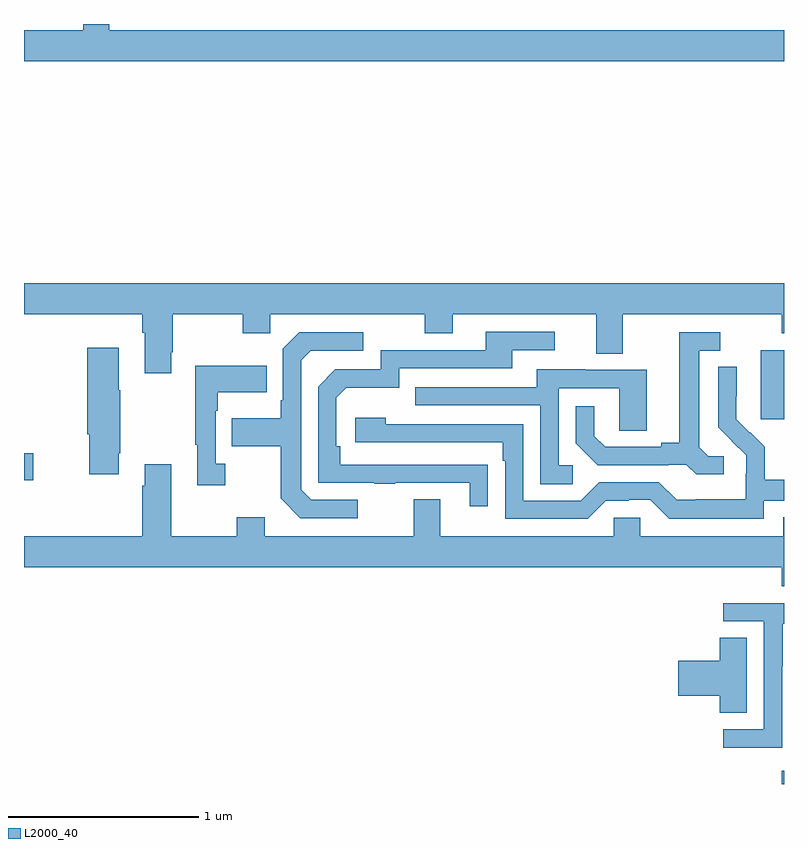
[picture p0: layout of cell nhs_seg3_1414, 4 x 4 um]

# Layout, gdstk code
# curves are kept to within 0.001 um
import gdstk
lib = gdstk.Library(unit=1e-6, precision=1e-09)
def R(c, l, rs):  # rectangles x0, y0, x1, y1
    for r in rs: c.add(gdstk.rectangle(r[:2], r[2:], *l))
def P(c, l, *ps):  # polygons
    for p in ps: c.add(gdstk.Polygon(p, *l))
L2000_40 = (2000, 40)

nhs_seg3_1414 = lib.new_cell('nhs_seg3_1414')
R(nhs_seg3_1414, L2000_40, [(186.989,742.4,187,742.471), (183,743.998,183.049,744.14), (186.878,744.321,187,744.682)])
P(nhs_seg3_1414, L2000_40, [(187,746.368),(183.449,746.368),(183.449,746.4),(183.313,746.4),(183.313,746.368),(183,746.368),(183,746.204),(187,746.204)],
  [(183.775,744.673),(183.783,744.673),(183.783,744.872),(184.15,744.872),(184.15,744.773),(184.296,744.773),(184.296,744.872),(185.11,744.872),(185.11,744.773),(185.257,744.773),(185.257,744.872),(186.011,744.872),(186.011,744.664),(186.151,744.664),(186.151,744.872),(186.988,744.872),(186.988,744.773),(187,744.773),(187,745.036),(183,745.036),(183,744.872),(183.623,744.872),(183.623,744.776),(183.635,744.776),(183.635,744.561),(183.775,744.561)],
  [(185.441,744.08),(184.664,744.081),(184.664,744.178),(184.644,744.178),(184.644,744.432),(184.697,744.485),(184.974,744.485),(184.974,744.588),(185.569,744.588),(185.569,744.684),(185.794,744.684),(185.794,744.78),(185.429,744.78),(185.429,744.684),(184.878,744.684),(184.878,744.582),(184.638,744.582),(184.548,744.492),(184.548,743.985),(184.843,743.985),(184.843,743.98),(184.955,743.98),(184.955,743.985),(185.345,743.985),(185.345,743.862),(185.441,743.862)],
  [(184.756,743.895),(184.512,743.895),(184.458,743.949),(184.458,744.63),(184.509,744.681),(184.786,744.681),(184.786,744.777),(184.449,744.777),(184.362,744.69),(184.362,744.421),(184.35,744.421),(184.35,744.325),(184.093,744.325),(184.093,744.178),(184.35,744.178),(184.35,743.905),(184.455,743.799),(184.756,743.799)],
  [(186.682,744.126),(186.6,744.126),(186.553,744.173),(186.553,744.681),(186.664,744.681),(186.664,744.777),(186.449,744.777),(186.449,744.197),(186.353,744.197),(186.353,744.174),(186.058,744.174),(186.001,744.231),(186.001,744.388),(185.904,744.388),(185.904,744.194),(186.02,744.078),(186.392,744.078),(186.392,744.081),(186.486,744.081),(186.538,744.029),(186.682,744.029)],
  [(183.499,744.142),(183.507,744.142),(183.507,744.473),(183.499,744.473),(183.499,744.697),(183.332,744.697),(183.332,744.242),(183.344,744.242),(183.344,744.03),(183.499,744.03)],
  [(184.06,744.086),(184.008,744.086),(184.008,744.365),(184.021,744.365),(184.021,744.461),(184.277,744.461),(184.277,744.601),(183.9,744.601),(183.9,744.185),(183.911,744.185),(183.911,743.973),(184.06,743.973)],
  [(186.894,743.892),(187,743.892),(187,744.001),(186.899,744.001),(186.899,744.175),(186.822,744.252),(186.819,744.249),(186.749,744.32),(186.75,744.596),(186.654,744.596),(186.654,744.278),(186.8,744.13),(186.8,744.033),(186.798,744.033),(186.798,743.899),(186.535,743.899),(186.535,743.895),(186.435,743.895),(186.342,743.988),(186.027,743.988),(185.931,743.892),(185.628,743.892),(185.628,744.294),(184.904,744.294),(184.904,744.328),(184.743,744.328),(184.743,744.198),(185.519,744.198),(185.519,744.101),(185.532,744.101),(185.532,743.796),(185.967,743.796),(186.063,743.892),(186.182,743.892),(186.182,743.895),(186.297,743.895),(186.397,743.795),(186.894,743.795)],
  [(185.887,744.078),(185.814,744.078),(185.814,744.483),(186.132,744.483),(186.132,744.259),(186.277,744.259),(186.277,744.579),(185.953,744.579),(185.953,744.583),(185.699,744.583),(185.699,744.489),(185.059,744.489),(185.059,744.393),(185.718,744.393),(185.718,743.977),(185.887,743.977)],
  [(187,743.803),(186.995,743.803),(186.995,743.704),(186.243,743.704),(186.243,743.802),(186.105,743.802),(186.105,743.704),(185.191,743.704),(185.191,743.899),(185.051,743.899),(185.051,743.704),(184.267,743.704),(184.267,743.803),(184.12,743.803),(184.12,743.704),(183.775,743.704),(183.775,744.082),(183.635,744.082),(183.635,743.969),(183.623,743.969),(183.623,743.704),(183,743.704),(183,743.54),(186.989,743.54),(186.989,743.441),(187,743.441)],
  [(186.99,743.02),(186.993,743.02),(186.993,743.244),(187,743.244),(187,743.352),(186.681,743.352),(186.681,743.256),(186.894,743.256),(186.894,742.689),(186.681,742.689),(186.681,742.591),(186.99,742.591)],
  [(186.805,743.171),(186.662,743.171),(186.662,743.048),(186.444,743.048),(186.444,742.865),(186.662,742.865),(186.662,742.774),(186.805,742.774)])

lib.write_gds('nhs_seg3_1414.gds')
